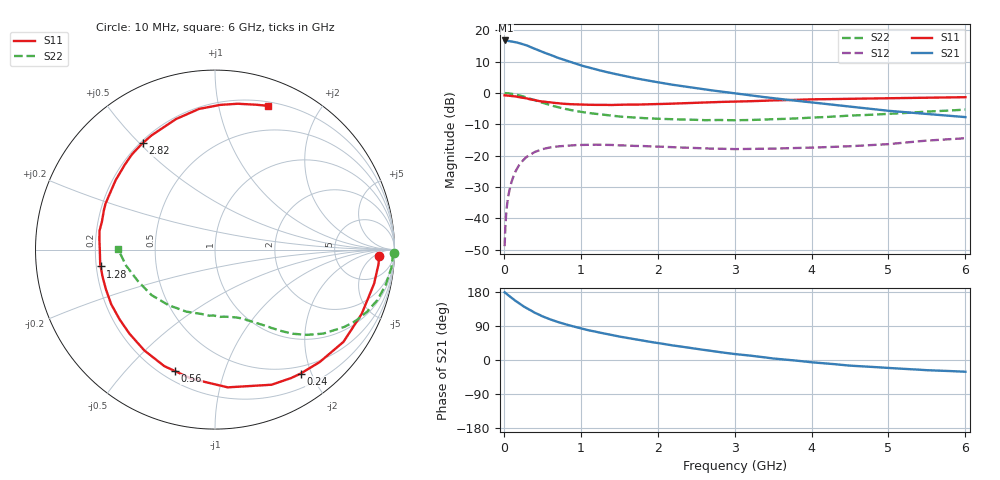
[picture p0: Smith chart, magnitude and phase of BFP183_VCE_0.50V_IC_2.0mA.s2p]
! Infineon Technologies  Discrete & RF Semiconductors
! BFP183
! VCE = 0.50V,  IC =  2.0 mA
! Common Emitter S-Parameters:  Jan 2016
# GHz  S  MA  R  50
!  f  S11  S21  S12  S22
! GHz  MAG  ANG  MAG  ANG  MAG  ANG  MAG  ANG
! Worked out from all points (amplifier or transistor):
!   210 points, 10 MHz to 6 GHz, reference 50 ohm
!   highest |S21| = 16.7 dB at 20 MHz (marker M1)
!   |S21| within 3 dB of that: start of sweep to 434.5 MHz
!   unconditionally stable (mu >= 1): 1.926 GHz to end of sweep
!   at 185 MHz: K = 0.11, MSG = 19.8 dB, |S12| = -23.6 dB
!   at 1.52 GHz: K = 0.80, MSG = 11.2 dB, |S12| = -16.8 dB
!   at 6 GHz: K = 1.24, MAG = 0.4 dB, |S12| = -14.5 dB
!   S11 on the Smith chart (normalised r, x): 10 MHz: 18, -9; 240 MHz: 0.39, -1.84; 560 MHz: 0.25, -0.69; 1.28 GHz: 0.22, -0.07; 2.82 GHz: 0.21, +0.51; 6 GHz: 0.24, +1.41
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0.01  0.9146 -2.4  6.77 178.7  0.0036 86.3  0.9964 -1.1
0.02  0.9148 -5.1  6.85 177.4  0.0075 85.9  0.9909 -2.3
0.04  0.9078 -9.8  6.787 173.8  0.0156 84.3  0.9885 -4.7
0.065  0.8984 -15.5  6.701 169.7  0.0251 80.2  0.9818 -7.6
0.15  0.8811 -35.7  6.454 156.4  0.0554 69.1  0.9474 -17.3
0.2  0.8561 -47.0  6.23 149.1  0.0709 63.5  0.9156 -22.2
0.24  0.8394 -55.4  5.997 143.6  0.0816 58.5  0.8863 -25.9
0.3  0.8161 -67.3  5.704 136.3  0.0962 52.5  0.839 -30.9
0.4  0.7708 -84.7  5.062 124.9  0.1139 43.6  0.7647 -37.7
0.5  0.7315 -100.3  4.489 115.4  0.1266 36.2  0.6977 -42.9
0.56  0.7128 -108.1  4.228 110.8  0.1314 32.8  0.6628 -45.3
0.7  0.6861 -125.0  3.632 100.4  0.1403 25.5  0.5915 -50.4
0.8  0.6683 -135.5  3.311 94.2  0.1433 21.5  0.5536 -53.1
1.02  0.6512 -153.7  2.706 82.5  0.1481 14.7  0.4947 -57.9
1.28  0.644 -171.6  2.231 71.0  0.1487 8.5  0.4496 -62.9
1.52  0.6467 174.9  1.917 61.2  0.1453 5.0  0.4181 -67.3
2.02  0.6641 151.8  1.462 44.1  0.1392 0.9  0.386 -76.7
2.82  0.7171 124.2  1.052 20.4  0.129 0.2  0.3693 -96.0
3.1  0.7315 116.5  0.949 13.8  0.1274 1.6  0.3675 -104.0
4.1  0.7909 94.8  0.684 -7.6  0.1352 6.8  0.4078 -133.0
5.1  0.8246 79.9  0.506 -22.2  0.1565 10.2  0.4699 -160.2
6  0.8537 69.8  0.411 -31.0  0.1892 6.6  0.5414 179.4
